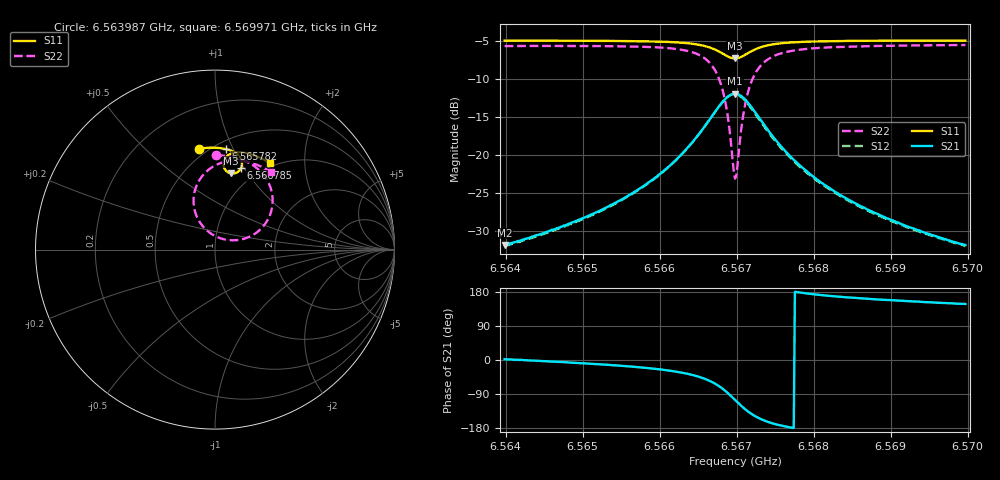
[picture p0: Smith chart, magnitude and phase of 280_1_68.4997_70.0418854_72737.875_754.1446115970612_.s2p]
#  HZ  S  RI  R  50.00
! Rohde & Schwarz Vector Network Analyzer
! Rohde-Schwarz,ZNB20-2Port,1311601062101988,3.16
! Created: UTC 3/20/2024, 5:01:07 PM
! freq[Hz]  re:S11  im:S11  re:S21  im:S21  re:S12  im:S12  re:S22  im:S22
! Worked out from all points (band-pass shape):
!   401 points, 6.563987 GHz to 6.569971 GHz, reference 50 ohm
!   highest |S21| = -11.90 dB at 6.566979 GHz (marker M1); lowest = -31.9 dB at 6.563987 GHz (marker M2)
!   |S21| within 3 dB of the highest: 6.566679 GHz to 6.567278 GHz (599.5 kHz wide, 0.00913 % of centre)
!   lowest |S11| = -7.2 dB at 6.566979 GHz (marker M3), VSWR 2.53, Z = 40 + j42 ohm
!   |S11| at or under -10 dB: nowhere
!   |S22| runs from -23.1 to -5.5 dB; largest |S21 - S12| = 0.012
!   S11 on the Smith chart (normalised r, x): 6.563987 GHz: 0.45, +0.75; 6.565782 GHz: 0.57, +0.94; 6.566785 GHz: 0.82, +0.97; 6.569971 GHz: 0.95, +1.35
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6.5639871e9  -0.0909 0.5617  0.0254 0.000957  0.025 0.00042  0.00716 0.5244
6.5649894e9  -0.0106 0.5681  0.0376 -0.0057  0.0369 -0.00615  0.0977 0.5156
6.5657822e9  0.0599 0.5607  0.0582 -0.0213  0.0571 -0.0219  0.1895 0.4828
6.5659917e9  0.0807 0.5548  0.0674 -0.0306  0.0662 -0.0314  0.2203 0.4635
6.5663058e9  0.1147 0.5386  0.0858 -0.0582  0.0844 -0.0592  0.2757 0.4094
6.5665302e9  0.1398 0.5137  0.0991 -0.101  0.0969 -0.1029  0.3147 0.3263
6.5666798e9  0.1502 0.484  0.0954 -0.1528  0.0917 -0.1555  0.3164 0.2274
6.5667845e9  0.1459 0.4556  0.0701 -0.2016  0.0639 -0.2041  0.2736 0.1358
6.5668743e9  0.1266 0.4325  0.0199 -0.2391  0.011 -0.2396  0.1832 0.0678
6.5669491e9  0.0994 0.424  -0.0411 -0.2495  -0.0511 -0.2462  0.0746 0.0531
6.566979e9  0.0875 0.4251  -0.0668 -0.2451  -0.0766 -0.24  0.0297 0.0632
6.5670089e9  0.0761 0.429  -0.0913 -0.2357  -0.1003 -0.229  -0.0118 0.0822
6.5670687e9  0.0582 0.4433  -0.1308 -0.2052  -0.1371 -0.1959  -0.0763 0.1406
6.5671286e9  0.0485 0.4625  -0.1545 -0.1664  -0.1577 -0.157  -0.1108 0.2104
6.5671884e9  0.0469 0.4815  -0.1633 -0.1293  -0.1642 -0.1202  -0.1195 0.2767
6.5672632e9  0.0525 0.5013  -0.161 -0.09  -0.1597 -0.0826  -0.1074 0.344
6.5673829e9  0.069 0.5225  -0.1438 -0.0478  -0.1413 -0.0426  -0.0668 0.4151
6.5675325e9  0.0919 0.5359  -0.1197 -0.0191  -0.117 -0.0159  -0.0131 0.4611
6.5679812e9  0.1483 0.542  -0.0724 0.00784  -0.0708 0.00895  0.0999 0.4957
6.5684001e9  0.1891 0.5345  -0.0509 0.0127  -0.0498 0.0134  0.1646 0.492
6.5689835e9  0.237 0.5178  -0.035 0.0141  -0.0342 0.0143  0.2289 0.4743
6.5699708e9  0.3076 0.481  -0.0216 0.0136  -0.021 0.0136  0.3095 0.4335
